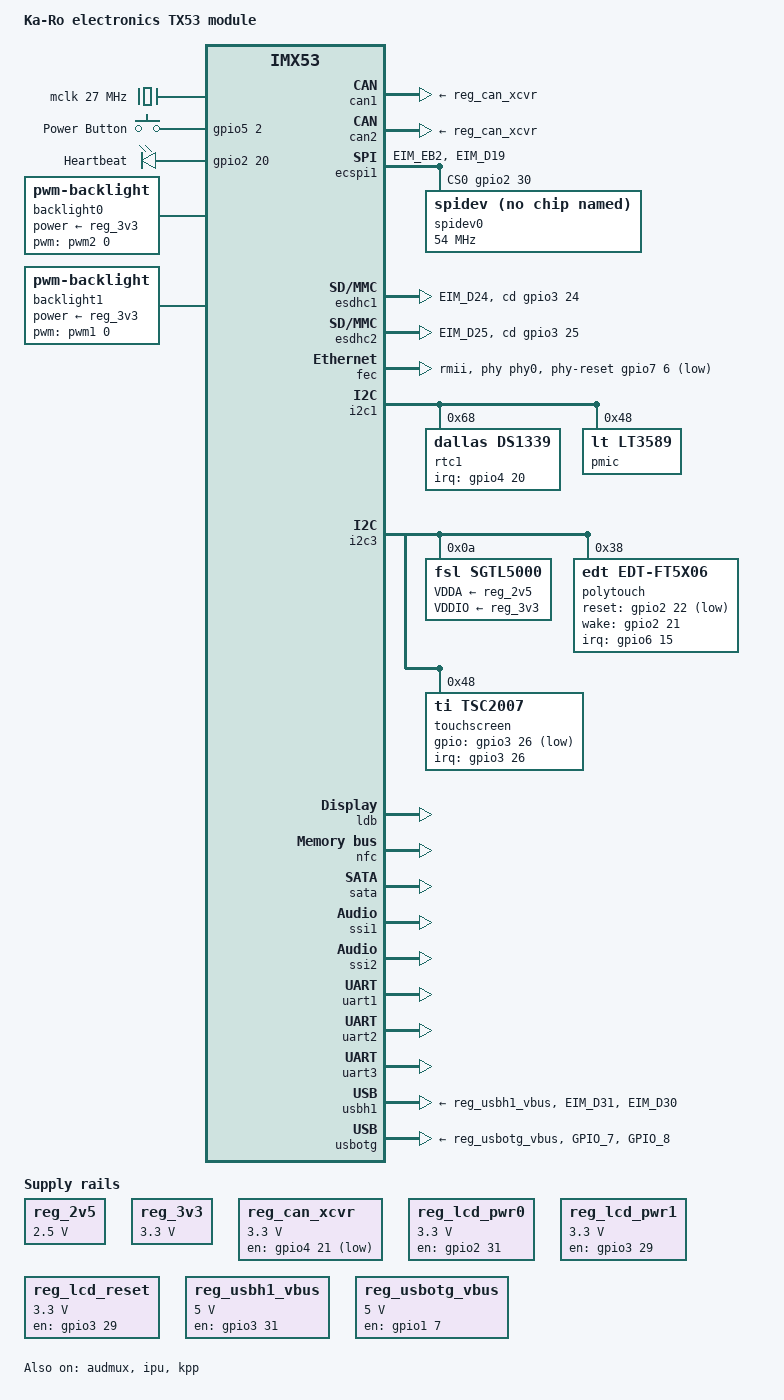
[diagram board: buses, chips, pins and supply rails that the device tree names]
/*
 * Copyright 2012 <LW@KARO-electronics.de>
 * based on imx53-qsb.dts
 *   Copyright 2011 Freescale Semiconductor, Inc.
 *   Copyright 2011 Linaro Ltd.
 *
 * The code contained herein is licensed under the GNU General Public
 * License. You may obtain a copy of the GNU General Public License
 * Version 2 at the following locations:
 *
 * http://www.opensource.org/licenses/gpl-license.html
 * http://www.gnu.org/copyleft/gpl.html
 */

/dts-v1/;
#include "imx53.dtsi"
#include <dt-bindings/gpio/gpio.h>

/ {
	model = "Ka-Ro electronics TX53 module";
	compatible = "karo,tx53", "fsl,imx53";

	aliases {
		can1 = &can1;
		can2 = &can2;
		display = &display;
		ipu = &ipu;
		lvds0 = &lvds0;
		lvds1 = &lvds1;
		usbh1 = &usbh1;
		usbotg = &usbotg;
	};

	clocks {
		ckih1 {
			clock-frequency = <0>;
		};

		mclk: codec_clock {
			compatible = "fixed-clock";
			reg = <0>;
			#clock-cells = <0>;
			clock-frequency = <27000000>;
		};
	};

	soc {
		display: display@di0 {
			compatible = "fsl,imx-parallel-display";
			crtcs = <&ipu 0>;
			interface-pix-fmt = "rgb24";
			pinctrl-names = "default";
			pinctrl-0 = <&pinctrl_rgb24_vga_1>;
			status = "okay";

			display-timings {
				VGA {
					clock-frequency = <25200000>;
					hactive = <640>;
					vactive = <480>;
					hback-porch = <48>;
					hsync-len = <96>;
					hfront-porch = <16>;
					vback-porch = <31>;
					vsync-len = <2>;
					vfront-porch = <12>;
					hsync-active = <0>;
					vsync-active = <0>;
					de-active = <1>;
					pixelclk-active = <0>;
				};

				ETV570 {
					clock-frequency = <25200000>;
					hactive = <640>;
					vactive = <480>;
					hback-porch = <114>;
					hsync-len = <30>;
					hfront-porch = <16>;
					vback-porch = <32>;
					vsync-len = <3>;
					vfront-porch = <10>;
					hsync-active = <0>;
					vsync-active = <0>;
					de-active = <1>;
					pixelclk-active = <0>;
				};

				ET0350 {
					clock-frequency = <6413760>;
					hactive = <320>;
					vactive = <240>;
					hback-porch = <34>;
					hsync-len = <34>;
					hfront-porch = <20>;
					vback-porch = <15>;
					vsync-len = <3>;
					vfront-porch = <4>;
					hsync-active = <0>;
					vsync-active = <0>;
					de-active = <1>;
					pixelclk-active = <0>;
				};

				ET0430 {
					clock-frequency = <9009000>;
					hactive = <480>;
					vactive = <272>;
					hback-porch = <2>;
					hsync-len = <41>;
					hfront-porch = <2>;
					vback-porch = <2>;
					vsync-len = <10>;
					vfront-porch = <2>;
					hsync-active = <0>;
					vsync-active = <0>;
					de-active = <1>;
					pixelclk-active = <1>;
				};

				ET0500 {
					clock-frequency = <33264000>;
					hactive = <800>;
					vactive = <480>;
					hback-porch = <88>;
					hsync-len = <128>;
					hfront-porch = <40>;
					vback-porch = <33>;
					vsync-len = <2>;
					vfront-porch = <10>;
					hsync-active = <0>;
					vsync-active = <0>;
					de-active = <1>;
					pixelclk-active = <0>;
				};

				ET0700 { /* same as ET0500 */
					clock-frequency = <33264000>;
					hactive = <800>;
					vactive = <480>;
					hback-porch = <88>;
					hsync-len = <128>;
					hfront-porch = <40>;
					vback-porch = <33>;
					vsync-len = <2>;
					vfront-porch = <10>;
					hsync-active = <0>;
					vsync-active = <0>;
					de-active = <1>;
					pixelclk-active = <0>;
				};

				ETQ570 {
					clock-frequency = <6596040>;
					hactive = <320>;
					vactive = <240>;
					hback-porch = <38>;
					hsync-len = <30>;
					hfront-porch = <30>;
					vback-porch = <16>;
					vsync-len = <3>;
					vfront-porch = <4>;
					hsync-active = <0>;
					vsync-active = <0>;
					de-active = <1>;
					pixelclk-active = <0>;
				};
			};
		};
	};

	sound {
		compatible = "karo,tx53-audio-sgtl5000", "fsl,imx-audio-sgtl5000";
		status = "okay";
		model = "tx53-audio-sgtl5000";
		ssi-controller = <&ssi1>;
		audio-codec = <&sgtl5000>;
		audio-routing =
			"MIC_IN", "Mic Jack",
			"Mic Jack", "Mic Bias",
			"Headphone Jack", "HP_OUT";
		/* '1' based port numbers according to datasheet names */
		mux-int-port = <1>;
		mux-ext-port = <5>;
	};

	gpio-keys {
		compatible = "gpio-keys";

		power {
			label = "Power Button";
			gpios = <&gpio5 2 GPIO_ACTIVE_HIGH>;
			linux,code = <116>; /* KEY_POWER */
			gpio-key,wakeup;
		};
	};

	leds {
		compatible = "gpio-leds";

		pinctrl-names = "default";
		pinctrl-0 = <&pinctrl_stk5_led>;

		user {
			label = "Heartbeat";
			gpios = <&gpio2 20 GPIO_ACTIVE_HIGH>;
			linux,default-trigger = "heartbeat";
		};
	};

	backlight0: pwm-backlight@0 {
		compatible = "pwm-backlight";
		pwms = <&pwm2 0 500000>;
		power-supply = <&reg_3v3>;
		brightness-levels = <
			  0  1  2  3  4  5  6  7  8  9
			 10 11 12 13 14 15 16 17 18 19
			 20 21 22 23 24 25 26 27 28 29
			 30 31 32 33 34 35 36 37 38 39
			 40 41 42 43 44 45 46 47 48 49
			 50 51 52 53 54 55 56 57 58 59
			 60 61 62 63 64 65 66 67 68 69
			 70 71 72 73 74 75 76 77 78 79
			 80 81 82 83 84 85 86 87 88 89
			 90 91 92 93 94 95 96 97 98 99
			100>;
		default-brightness-level = <50>;
	};

	backlight1: pwm-backlight@1 {
		compatible = "pwm-backlight";
		pwms = <&pwm1 0 500000>;
		power-supply = <&reg_3v3>;
		brightness-levels = <
			  0  1  2  3  4  5  6  7  8  9
			 10 11 12 13 14 15 16 17 18 19
			 20 21 22 23 24 25 26 27 28 29
			 30 31 32 33 34 35 36 37 38 39
			 40 41 42 43 44 45 46 47 48 49
			 50 51 52 53 54 55 56 57 58 59
			 60 61 62 63 64 65 66 67 68 69
			 70 71 72 73 74 75 76 77 78 79
			 80 81 82 83 84 85 86 87 88 89
			 90 91 92 93 94 95 96 97 98 99
			100>;
		default-brightness-level = <50>;
	};

	regulators {
		compatible = "simple-bus";

		reg_2v5: 2v5 {
			compatible = "regulator-fixed";
			regulator-name = "2V5";
			regulator-min-microvolt = <2500000>;
			regulator-max-microvolt = <2500000>;
			regulator-always-on;
		};

		reg_3v3: 3v3 {
			compatible = "regulator-fixed";
			regulator-name = "3V3";
			regulator-min-microvolt = <3300000>;
			regulator-max-microvolt = <3300000>;
			regulator-always-on;
		};

		reg_can_xcvr: can-xcvr {
			compatible = "regulator-fixed";
			regulator-name = "CAN XCVR";
			regulator-min-microvolt = <3300000>;
			regulator-max-microvolt = <3300000>;
			gpio = <&gpio4 21 GPIO_ACTIVE_HIGH>;
			enable-active-low;
			pinctrl-names = "default";
			pinctrl-0 = <&pinctrl_tx53_flexcan_xcvr>;
		};

		reg_lcd_pwr0: lcd-power@0 {
			compatible = "regulator-fixed";
			regulator-name = "LCD POWER";
			regulator-min-microvolt = <3300000>;
			regulator-max-microvolt = <3300000>;
			gpio = <&gpio2 31 GPIO_ACTIVE_HIGH>;
			enable-active-high;
			regulator-boot-on;
		};

		reg_lcd_pwr1: lcd-power@1 {
			compatible = "regulator-fixed";
			regulator-name = "LCD POWER";
			regulator-min-microvolt = <3300000>;
			regulator-max-microvolt = <3300000>;
			gpio = <&gpio3 29 GPIO_ACTIVE_HIGH>;
			enable-active-high;
			regulator-boot-on;
		};

		reg_lcd_reset: lcd-reset {
			compatible = "regulator-fixed";
			regulator-name = "LCD RESET";
			regulator-min-microvolt = <3300000>;
			regulator-max-microvolt = <3300000>;
			gpio = <&gpio3 29 GPIO_ACTIVE_HIGH>;
			startup-delay-us = <300000>;
			enable-active-high;
			regulator-always-on;
			regulator-boot-on;
		};

		reg_usbh1_vbus: usbh1_vbus {
			compatible = "regulator-fixed";
			regulator-name = "usbh1_vbus";
			regulator-min-microvolt = <5000000>;
			regulator-max-microvolt = <5000000>;
			gpio = <&gpio3 31 GPIO_ACTIVE_HIGH>;
			enable-active-high;
		};

		reg_usbotg_vbus: usbotg_vbus {
			compatible = "regulator-fixed";
			regulator-name = "usbotg_vbus";
			regulator-min-microvolt = <5000000>;
			regulator-max-microvolt = <5000000>;
			gpio = <&gpio1 7 GPIO_ACTIVE_HIGH>;
			enable-active-high;
		};
	};
};

&audmux {
	status = "okay";

	pinctrl-names = "default";
	pinctrl-0 = <&pinctrl_audmux_1>;
};

&can1 {
	pinctrl-names = "default";
	pinctrl-0 = <&pinctrl_can1_3>;
	xceiver-supply = <&reg_can_xcvr>;

	status = "okay";
};

&can2 {
	pinctrl-names = "default";
	pinctrl-0 = <&pinctrl_can2_1>;
	xceiver-supply = <&reg_can_xcvr>;

	status = "okay";
};

&ecspi1 {
	status = "okay";

	pinctrl-names = "default";
	pinctrl-0 = <
		&pinctrl_ecspi1_1
		&pinctrl_cspi1_cs
	>;

	fsl,spi-num-chipselects = <2>;
	cs-gpios = <&gpio2 30 0 &gpio3 19 GPIO_ACTIVE_HIGH>;

	spidev0: spi@0 {
		compatible = "spidev";
		reg = <0>;
		spi-max-frequency = <54000000>;
	};
};

&esdhc1 {
	status = "okay";
	cd-gpios = <&gpio3 24 GPIO_ACTIVE_HIGH>;
	fsl,wp-controller;
	pinctrl-names = "default";
	pinctrl-0 = <
		&pinctrl_esdhc1_1
		&pinctrl_tx53_esdhc1_cd
	>;
};

&esdhc2 {
	status = "okay";
	cd-gpios = <&gpio3 25 GPIO_ACTIVE_HIGH>;
	fsl,wp-controller;
	pinctrl-names = "default";
	pinctrl-0 = <
		&pinctrl_esdhc2_1
		&pinctrl_tx53_esdhc2_cd
	>;
};

&fec {
	status = "okay";

	pinctrl-names = "default";
	pinctrl-0 = <&pinctrl_fec_1>;

	phy-mode = "rmii";
	phy-reset-gpios = <&gpio7 6 GPIO_ACTIVE_HIGH>;
	phy-handle = <&phy0>;
	mac-address = [000000000000]; /* placeholder; will be overwritten by bootloader */

	phy0: ethernet-phy@0 {
		interrupt-parent = <&gpio2>;
		interrupts = <4>;
		device_type = "ethernet-phy";
	};
};

&i2c1 {
	status = "okay";
	pinctrl-names = "default";
	pinctrl-0 = <&pinctrl_i2c1_2>;

	rtc1: ds1339@68 {
		compatible = "dallas,ds1339";
		reg = <0x68>;
		pinctrl-names = "default";
		pinctrl-0 = <&pinctrl_ds1339_int>;
		interrupt-parent = <&gpio4>;
		interrupts = <20 0>;
	};

	pmic: lt3589@48 {
		compatible = "lt,lt3589";
		reg = <0x48>;
	};
};

&i2c3 {
	status = "okay";

	pinctrl-names = "default";
	pinctrl-0 = <&pinctrl_i2c3_2>;

	sgtl5000: codec@0a {
		compatible = "fsl,sgtl5000";
		reg = <0x0a>;
		VDDA-supply = <&reg_2v5>;
		VDDIO-supply = <&reg_3v3>;
		clocks = <&mclk>;
	};

	polytouch: edt-ft5x06@38 {
		compatible = "edt,edt-ft5x06";
		reg = <0x38>;
		pinctrl-names = "default";
		pinctrl-0 = <&pinctrl_edt_ft5x06_1>;
		interrupt-parent = <&gpio6>;
		interrupts = <15 0>;
		reset-gpios = <&gpio2 22 GPIO_ACTIVE_LOW>;
		wake-gpios = <&gpio2 21 GPIO_ACTIVE_HIGH>;
	};

	touchscreen: tsc2007@48 {
		compatible = "ti,tsc2007";
		reg = <0x48>;
		pinctrl-names = "default";
		pinctrl-0 = <&pinctrl_tsc2007_1>;
		interrupt-parent = <&gpio3>;
		interrupts = <26 0>;
		gpios = <&gpio3 26 GPIO_ACTIVE_LOW>;
		ti,x-plate-ohms = <660>;
		linux,wakeup;
	};
};

&iomuxc {
	pinctrl-names = "default";

	cspi1 {
		pinctrl_cspi1_cs: cspi1-cs-gpios {
			fsl,pins = <
				MX53_PAD_EIM_EB2__GPIO2_30 0xe0
				MX53_PAD_EIM_D19__GPIO3_19 0xe0
			>;
		};
	};

	display {
		pinctrl_rgb24_vga_1: rgb24-vga-grp-1 {
			fsl,pins = <
				MX53_PAD_DISP0_DAT0__IPU_DISP0_DAT_0 0x80000000
				MX53_PAD_DISP0_DAT1__IPU_DISP0_DAT_1 0x80000000
				MX53_PAD_DISP0_DAT2__IPU_DISP0_DAT_2 0x80000000
				MX53_PAD_DISP0_DAT3__IPU_DISP0_DAT_3 0x80000000
				MX53_PAD_DISP0_DAT4__IPU_DISP0_DAT_4 0x80000000
				MX53_PAD_DISP0_DAT5__IPU_DISP0_DAT_5 0x80000000
				MX53_PAD_DISP0_DAT6__IPU_DISP0_DAT_6 0x80000000
				MX53_PAD_DISP0_DAT7__IPU_DISP0_DAT_7 0x80000000
				MX53_PAD_DISP0_DAT8__IPU_DISP0_DAT_8 0x80000000
				MX53_PAD_DISP0_DAT9__IPU_DISP0_DAT_9 0x80000000
				MX53_PAD_DISP0_DAT10__IPU_DISP0_DAT_10 0x80000000
				MX53_PAD_DISP0_DAT11__IPU_DISP0_DAT_11 0x80000000
				MX53_PAD_DISP0_DAT12__IPU_DISP0_DAT_12 0x80000000
				MX53_PAD_DISP0_DAT13__IPU_DISP0_DAT_13 0x80000000
				MX53_PAD_DISP0_DAT14__IPU_DISP0_DAT_14 0x80000000
				MX53_PAD_DISP0_DAT15__IPU_DISP0_DAT_15 0x80000000
				MX53_PAD_DISP0_DAT16__IPU_DISP0_DAT_16 0x80000000
				MX53_PAD_DISP0_DAT17__IPU_DISP0_DAT_17 0x80000000
				MX53_PAD_DISP0_DAT18__IPU_DISP0_DAT_18 0x80000000
				MX53_PAD_DISP0_DAT19__IPU_DISP0_DAT_19 0x80000000
				MX53_PAD_DISP0_DAT20__IPU_DISP0_DAT_20 0x80000000
				MX53_PAD_DISP0_DAT21__IPU_DISP0_DAT_21 0x80000000
				MX53_PAD_DISP0_DAT22__IPU_DISP0_DAT_22 0x80000000
				MX53_PAD_DISP0_DAT23__IPU_DISP0_DAT_23 0x80000000
				MX53_PAD_DI0_PIN2__IPU_DI0_PIN2 0x80000000 /* HSYNC */
				MX53_PAD_DI0_PIN3__IPU_DI0_PIN3 0x80000000 /* VSYNC */
				MX53_PAD_DI0_PIN15__IPU_DI0_PIN15 0x80000000 /* OE */
				MX53_PAD_DI0_DISP_CLK__IPU_DI0_DISP_CLK 0x80000000 /* PIXCLK */
			>;
		};

		pinctrl_rgb24_vga_2: rgb24-vga-grp-2 {
			fsl,pins = <
				MX53_PAD_EIM_DA0__IPU_DISP1_DAT_9 0x80000000
				MX53_PAD_EIM_DA1__IPU_DISP1_DAT_8 0x80000000
				MX53_PAD_EIM_DA2__IPU_DISP1_DAT_7 0x80000000
				MX53_PAD_EIM_DA3__IPU_DISP1_DAT_6 0x80000000
				MX53_PAD_EIM_DA4__IPU_DISP1_DAT_5 0x80000000
				MX53_PAD_EIM_DA5__IPU_DISP1_DAT_4 0x80000000
				MX53_PAD_EIM_DA6__IPU_DISP1_DAT_3 0x80000000
				MX53_PAD_EIM_DA7__IPU_DISP1_DAT_2 0x80000000
				MX53_PAD_EIM_DA8__IPU_DISP1_DAT_1 0x80000000
				MX53_PAD_EIM_DA9__IPU_DISP1_DAT_0 0x80000000
			>;
		};
	};

	ds1339 {
		pinctrl_ds1339_int: ds1339-gpios {
			fsl,pins = <
				MX53_PAD_DI0_PIN4__GPIO4_20 0xe0
			>;
		};
	};

	esdhc1 {
		pinctrl_tx53_esdhc1_cd: esdhc1-cd-gpios {
			fsl,pins = <
				MX53_PAD_EIM_D24__GPIO3_24 0x1f0
			>;
		};
	};

	esdhc2 {
		pinctrl_tx53_esdhc2_cd: esdhc2-cd-gpios {
			fsl,pins = <
				MX53_PAD_EIM_D25__GPIO3_25 0x1f0
			>;
		};
	};

	flexcan {
		pinctrl_tx53_flexcan_xcvr: flexcan-xcvrgrp-1 {
			fsl,pins = <
				MX53_PAD_DISP0_DAT0__GPIO4_21 0xe0 /* Flexcan XCVR enable */
			>;
		};
	};

	leds {
		pinctrl_stk5_led: stk5-led-gpios {
			fsl,pins = <
				MX53_PAD_EIM_A18__GPIO2_20 0xc0
			>;
		};
	};

	ssi1 {
		pinctrl_ssi1: ssi1-gpios {
			fsl,pins = <
				MX53_PAD_EIM_D26__GPIO3_26 0x1f0
			>;
		};
	};

	ssi2 {
		pinctrl_ssi2: ssi2-gpios {
			fsl,pins = <
				MX53_PAD_EIM_D27__GPIO3_27 0x1f0
			>;
		};
	};

	touchpanel {
		pinctrl_tsc2007_1: tsc2007grp-1 {
			fsl,pins = <
				MX53_PAD_EIM_D26__GPIO3_26 0xe0 /* Interrupt */
			>;
		};

		pinctrl_edt_ft5x06_1: edt-ft5x06grp-1 {
			fsl,pins = <
				MX53_PAD_NANDF_CS2__GPIO6_15 0xe0 /* Interrupt */
				MX53_PAD_EIM_A16__GPIO2_22 0xe0 /* Reset */
				MX53_PAD_EIM_A17__GPIO2_21 0xe0 /* Wake */
			>;
		};
	};

	usbh1 {
		pinctrl_tx53_usbh1_1: usbh1-gpios {
			fsl,pins = <
				MX53_PAD_EIM_D31__GPIO3_31 0xe0 /* VBUS ENABLE */
				MX53_PAD_EIM_D30__GPIO3_30 0x100 /* OC */
			>;
		};
	};

	usbotg {
		pinctrl_tx53_usbotg_1: usbotg-gpios {
			fsl,pins = <
				MX53_PAD_GPIO_7__GPIO1_7 0xe0 /* VBUS ENABLE */
				MX53_PAD_GPIO_8__GPIO1_8 0x100 /* OC */
			>;
		};
	};
};

&ipu {
	status = "okay";
};

&kpp {
	/* sample keymap */
	/* row/col 0,1 are mapped to KPP row/col 6,7 */
	linux,keymap = <
		0x06060074 /* row 6, col 6, KEY_POWER */
		0x06070052 /* row 6, col 7, KEY_KP0 */
		0x0602004f /* row 6, col 2, KEY_KP1 */
		0x06030050 /* row 6, col 3, KEY_KP2 */
		0x07060051 /* row 7, col 6, KEY_KP3 */
		0x0707004b /* row 7, col 7, KEY_KP4 */
		0x0702004c /* row 7, col 2, KEY_KP5 */
		0x0703004d /* row 7, col 3, KEY_KP6 */
		0x02060047 /* row 2, col 6, KEY_KP7 */
		0x02070048 /* row 2, col 7, KEY_KP8 */
		0x02020049 /* row 2, col 2, KEY_KP9 */
	>;
	status = "okay";
};

&ldb {
	pinctrl-names = "default";
	pinctrl-0 = <&pinctrl_ipu_disp2_1>;
	status = "okay";

	lvds0: lvds-channel@0 {
		fsl,data-mapping = "spwg";
		fsl,data-width = <18>;
		status = "okay";

		display-timings {
			native-mode = <&lvds_timing0>;
			lvds_timing0: hsd100pxn1 {
				clock-frequency = <65000000>;
				hactive = <1024>;
				vactive = <768>;
				hback-porch = <220>;
				hsync-len = <60>;
				hfront-porch = <40>;
				vback-porch = <21>;
				vsync-len = <10>;
				vfront-porch = <7>;
				hsync-active = <0>;
				vsync-active = <0>;
				de-active = <1>;
				pixelclk-active = <0>;
			};
		};
	};

	lvds1: lvds-channel@1 {
		fsl,data-mapping = "spwg";
		fsl,data-width = <18>;
		status = "okay";

		display-timings {
			native-mode = <&lvds_timing1>;
			lvds_timing1: hsd100pxn1 {
				clock-frequency = <65000000>;
				hactive = <1024>;
				vactive = <768>;
				hback-porch = <220>;
				hsync-len = <60>;
				hfront-porch = <40>;
				vback-porch = <21>;
				vsync-len = <10>;
				vfront-porch = <7>;
				hsync-active = <0>;
				vsync-active = <0>;
				de-active = <1>;
				pixelclk-active = <0>;
			};
		};
	};
};

&nfc {
	nand-bus-width = <8>;
	nand-ecc-mode = "hw";
	nand-on-flash-bbt;
	status = "okay";
};

&pwm1 {
	pinctrl-names = "default";
	pinctrl-0 = <&pinctrl_pwm1_2>;
};

&pwm2 {
	pinctrl-names = "default";
	pinctrl-0 = <&pinctrl_pwm2_1>;
};

&sata {
	status = "okay";
};

&sdma {
	fsl,sdma-ram-script-name = "sdma-imx53.bin";
};

&ssi1 {
	fsl,mode = "i2s-slave";
	codec-handle = <&sgtl5000>;
	status = "okay";
};

&ssi2 {
	status = "okay";
};

&uart1 {
	pinctrl-names = "default";
	pinctrl-0 = <&pinctrl_uart1_2 &pinctrl_uart1_3>;
	fsl,uart-has-rtscts;
	status = "okay";
};

&uart2 {
	pinctrl-names = "default";
	pinctrl-0 = <&pinctrl_uart2_2>;
	fsl,uart-has-rtscts;
	status = "okay";
};

&uart3 {
	pinctrl-names = "default";
	pinctrl-0 = <&pinctrl_uart3_1>;
	fsl,uart-has-rtscts;
	status = "okay";
};

&usbh1 {
	pinctrl-names = "default";
	pinctrl-0 = <&pinctrl_tx53_usbh1_1>;
	disable-over-current;
	vbus-supply = <&reg_usbh1_vbus>;
	status = "okay";
};

&usbotg {
	pinctrl-names = "default";
	pinctrl-0 = <&pinctrl_tx53_usbotg_1>;
	disable-over-current;
	vbus-supply = <&reg_usbotg_vbus>;
	status = "okay";
};
